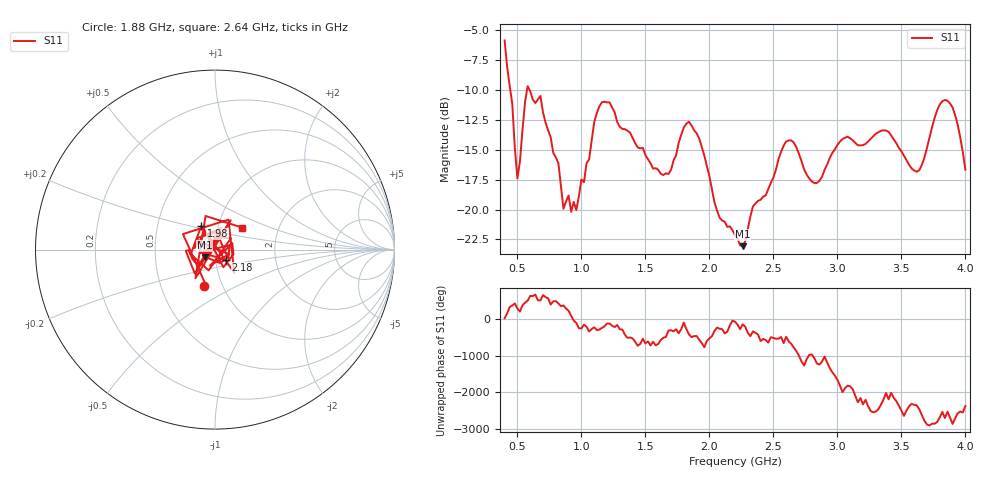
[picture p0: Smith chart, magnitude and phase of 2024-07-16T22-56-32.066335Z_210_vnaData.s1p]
!Created with skrf (http://scikit-rf.org).
# Hz S RI R 50.0
!freq ReS11 ImS11
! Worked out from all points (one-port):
!   181 points, 400 MHz to 4 GHz, reference 50 ohm
!   lowest |S11| = -23.1 dB at 2.26 GHz (marker M1), VSWR 1.15, Z = 44.5 - j3.77 ohm
!   |S11| at or under -10 dB: 444.4 MHz to 574.9 MHz (130.5 MHz wide, 25.6 % of centre); 595.7 MHz to end of sweep
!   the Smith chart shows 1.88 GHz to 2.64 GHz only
!   S11 on the Smith chart (normalised r, x): 1.88 GHz: 0.81, -0.35; 1.98 GHz: 0.83, +0.22; 2.18 GHz: 1.12, -0.13; 2.64 GHz: 1.31, +0.33
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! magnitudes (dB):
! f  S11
! 400 MHz  -5.8
! 460 MHz  -11.2
! 500 MHz  -17.4
! 580 MHz  -9.7
! 680 MHz  -10.5
! 820 MHz  -16.1
! 860 MHz  -19.9
! 960 MHz  -20.0
! 1.16 GHz  -11.0
! 1.3 GHz  -13.1
! 1.64 GHz  -17.1
! 1.76 GHz  -14.4
! 1.88 GHz  -13.4
! 1.98 GHz  -16.3
! 2.08 GHz  -20.7
! 2.18 GHz  -21.7
! 2.2 GHz  -22.1
! 2.26 GHz  -23.1
! 2.64 GHz  -14.2
! 2.66 GHz  -14.4
! 2.84 GHz  -17.8
! 3.1 GHz  -14.0
! 3.38 GHz  -13.4
! 3.56 GHz  -16.3
! 3.64 GHz  -16.7
! 3.84 GHz  -10.8
! 3.92 GHz  -12.1
! 4 GHz  -16.7
